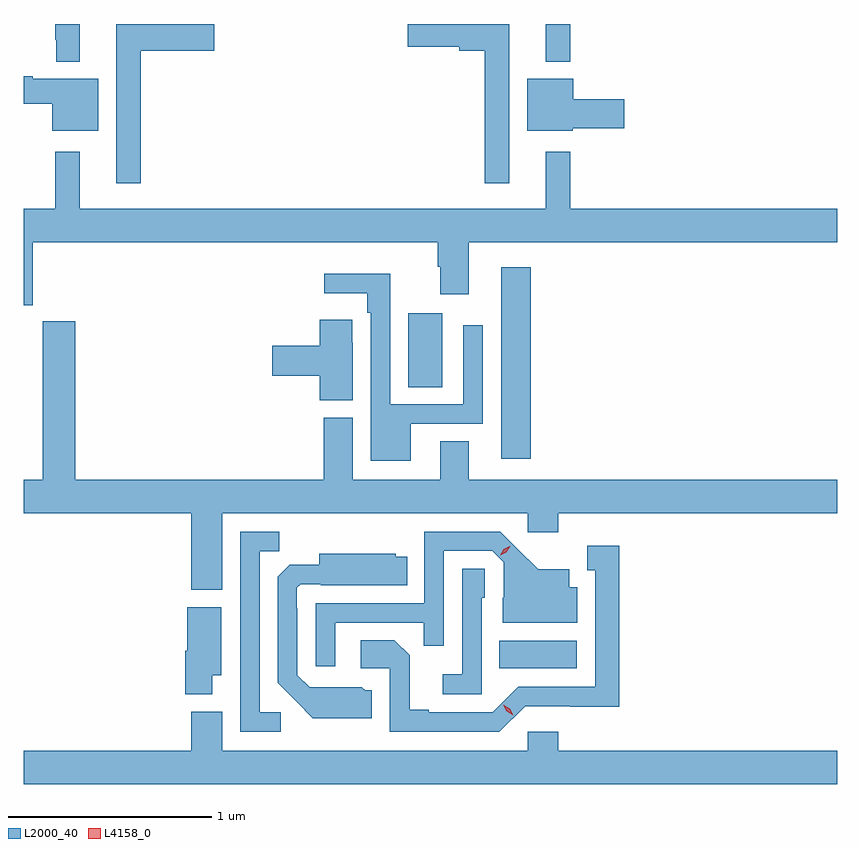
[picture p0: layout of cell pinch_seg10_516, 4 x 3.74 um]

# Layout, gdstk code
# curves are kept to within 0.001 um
import gdstk
lib = gdstk.Library(unit=1e-6, precision=1e-09)
def R(c, l, rs):  # rectangles x0, y0, x1, y1
    for r in rs: c.add(gdstk.rectangle(r[:2], r[2:], *l))
def P(c, l, *ps):  # polygons
    for p in ps: c.add(gdstk.Polygon(p, *l))
L2000_40 = (2000, 40)
L4158_0 = (4158, 0)

pinch_seg10_516 = lib.new_cell('pinch_seg10_516')
R(pinch_seg10_516, L2000_40, [(372.91,1278.242,373.291,1278.376), (372.92,1279.272,373.067,1280.212), (372.464,1279.624,372.631,1279.987), (373.139,1281.224,373.261,1281.409)])
P(pinch_seg10_516, L2000_40, [(371.149,1281.278),(371.509,1281.278),(371.509,1281.409),(371.027,1281.409),(371.027,1280.625),(371.149,1280.625)],
  [(372.961,1281.409),(372.462,1281.409),(372.462,1281.296),(372.714,1281.296),(372.714,1281.278),(372.84,1281.278),(372.84,1280.625),(372.961,1280.625)],
  [(370.849,1281.409),(370.728,1281.409),(370.728,1281.331),(370.734,1281.331),(370.734,1281.224),(370.849,1281.224)],
  [(370.939,1281.139),(370.616,1281.139),(370.616,1281.152),(370.573,1281.152),(370.573,1281.016),(370.712,1281.016),(370.712,1280.885),(370.939,1280.885)],
  [(373.272,1280.896),(373.525,1280.896),(373.525,1281.038),(373.276,1281.038),(373.276,1281.139),(373.049,1281.139),(373.049,1280.885),(373.272,1280.885)],
  [(370.618,1280.336),(372.608,1280.336),(372.608,1280.216),(372.62,1280.216),(372.62,1280.079),(372.76,1280.079),(372.76,1280.336),(374.573,1280.336),(374.573,1280.5),(373.261,1280.5),(373.261,1280.782),(373.139,1280.782),(373.139,1280.5),(370.849,1280.5),(370.849,1280.782),(370.728,1280.782),(370.728,1280.5),(370.573,1280.5),(370.573,1280.027),(370.618,1280.027)],
  [(372.475,1279.443),(372.831,1279.443),(372.831,1279.927),(372.735,1279.927),(372.735,1279.539),(372.375,1279.539),(372.375,1280.182),(372.051,1280.182),(372.051,1280.084),(372.263,1280.084),(372.263,1279.988),(372.279,1279.988),(372.279,1279.262),(372.475,1279.262)],
  [(372.19,1279.841),(372.189,1279.841),(372.189,1279.954),(372.029,1279.954),(372.029,1279.826),(371.796,1279.826),(371.796,1279.679),(372.029,1279.679),(372.029,1279.558),(372.19,1279.558)],
  [(371.548,1279.004),(373.05,1279.004),(373.05,1278.909),(373.202,1278.909),(373.202,1279.004),(374.573,1279.004),(374.573,1279.168),(372.76,1279.168),(372.76,1279.358),(372.62,1279.358),(372.62,1279.168),(372.19,1279.168),(372.19,1279.473),(372.047,1279.473),(372.047,1279.168),(370.826,1279.168),(370.826,1279.948),(370.666,1279.948),(370.666,1279.168),(370.573,1279.168),(370.573,1279.004),(371.396,1279.004),(371.396,1278.626),(371.548,1278.626)],
  [(371.836,1278.024),(371.733,1278.024),(371.733,1278.817),(371.829,1278.817),(371.829,1278.912),(371.637,1278.912),(371.637,1277.928),(371.836,1277.928)],
  [(372.105,1278.465),(372.541,1278.465),(372.541,1278.352),(372.639,1278.352),(372.639,1278.819),(372.876,1278.819),(372.933,1278.762),(372.933,1278.588),(372.929,1278.588),(372.929,1278.464),(373.294,1278.464),(373.294,1278.64),(373.255,1278.64),(373.255,1278.727),(373.103,1278.727),(372.916,1278.912),(372.543,1278.912),(372.543,1278.561),(372.009,1278.561),(372.009,1278.252),(372.105,1278.252)],
  [(373.038,1278.054),(373.501,1278.053),(373.501,1278.844),(373.343,1278.844),(373.343,1278.723),(373.382,1278.723),(373.382,1278.15),(373.005,1278.15),(372.879,1278.024),(372.565,1278.024),(372.565,1278.037),(372.471,1278.037),(372.471,1278.304),(372.395,1278.38),(372.231,1278.38),(372.231,1278.24),(372.372,1278.24),(372.372,1277.928),(372.912,1277.928)],
  [(372.283,1278.132),(372.252,1278.132),(372.236,1278.148),(371.979,1278.147),(371.919,1278.207),(371.919,1278.536),(371.916,1278.536),(371.916,1278.636),(371.934,1278.654),(372.034,1278.654),(372.034,1278.65),(372.458,1278.65),(372.458,1278.79),(372.402,1278.79),(372.402,1278.805),(372.026,1278.805),(372.026,1278.751),(371.882,1278.751),(371.823,1278.692),(371.823,1278.17),(371.995,1277.996),(372.283,1277.996)],
  [(372.825,1278.588),(372.84,1278.588),(372.84,1278.731),(372.729,1278.731),(372.729,1278.211),(372.633,1278.211),(372.633,1278.114),(372.825,1278.114)],
  [(371.5,1278.206),(371.545,1278.206),(371.545,1278.541),(371.378,1278.541),(371.378,1278.327),(371.366,1278.327),(371.366,1278.113),(371.5,1278.113)],
  [(374.573,1277.836),(373.202,1277.836),(373.202,1277.929),(373.05,1277.929),(373.05,1277.836),(371.548,1277.836),(371.548,1278.028),(371.396,1278.028),(371.396,1277.836),(370.573,1277.836),(370.573,1277.672),(374.573,1277.672)])
P(pinch_seg10_516, L4158_0, [(372.98,1278.01),(372.948,1278.029),(372.93,1278.062),(372.93,1278.062),(372.931,1278.062),(372.962,1278.043),(372.98,1278.01),(372.98,1278.01)],
  [(372.915,1278.796),(372.915,1278.796),(372.933,1278.826),(372.963,1278.841),(372.964,1278.841),(372.964,1278.841),(372.946,1278.811),(372.916,1278.796)])

lib.write_gds('pinch_seg10_516.gds')
